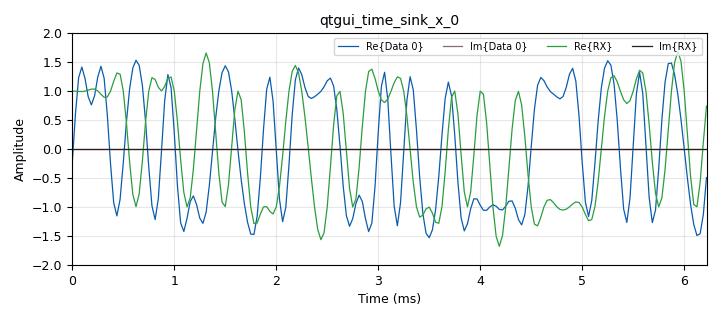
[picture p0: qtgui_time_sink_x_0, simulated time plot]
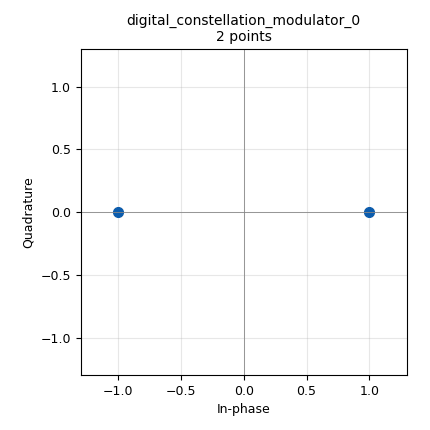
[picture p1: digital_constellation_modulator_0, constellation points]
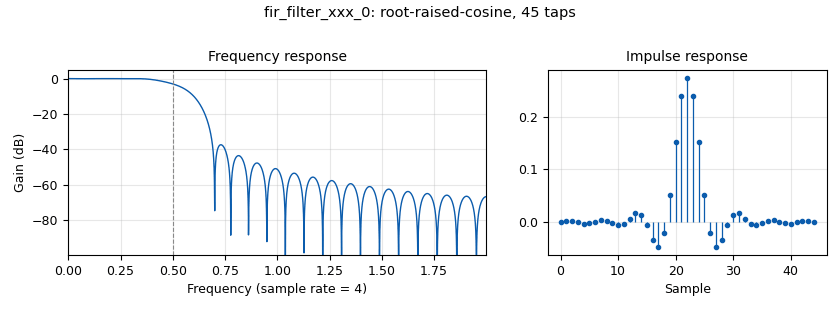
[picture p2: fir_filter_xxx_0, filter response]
options:
  parameters:
    category: Custom
    generate_options: qt_gui
    id: bpsk_stage1
    output_language: python
    title: bpsk_stage1
  states: {}

blocks:
- name: bpsk
  id: variable_constellation
  parameters:
    precision: '8'
    type: bpsk
  states: {}
- name: excess_bw
  id: variable
  parameters:
    value: '0.35'
  states: {}
- name: rrc_taps
  id: variable
  parameters:
    value: firdes.root_raised_cosine(1, sps, 1, excess_bw, 45)
  states: {}
- name: samp_rate
  id: variable
  parameters:
    value: '32000'
  states: {}
- name: sps
  id: variable
  parameters:
    value: '4'
  states: {}
- name: analog_random_source_x_0
  id: analog_random_source_x
  parameters:
    max: '256'
    min: '0'
    num_samps: '1024'
    repeat: 'True'
    type: byte
  states: {}
- name: blocks_throttle2_0
  id: blocks_throttle2
  parameters:
    samples_per_second: samp_rate
    type: complex
  states: {}
- name: digital_constellation_modulator_0
  id: digital_constellation_modulator
  parameters:
    constellation: bpsk
    differential: 'True'
    excess_bw: excess_bw
    samples_per_symbol: sps
  states: {}
- name: fir_filter_xxx_0
  id: fir_filter_xxx
  parameters:
    decim: '1'
    taps: rrc_taps
    type: ccc
  states: {}
- name: qtgui_const_sink_x_0
  id: qtgui_const_sink_x
  parameters:
    comment: 0,2,1,2
    gui_hint: 0,2,1,2
    nconnections: '2'
    size: '1024'
    type: complex
  states: {state: disabled}
- name: qtgui_freq_sink_x_0
  id: qtgui_freq_sink_x
  parameters:
    average: '0.05'
    bw: samp_rate
    comment: 1,0,1,4
    fc: '0'
    fftsize: '1024'
    gui_hint: 1,0,1,4
    nconnections: '2'
    type: complex
  states: {state: disabled}
- name: qtgui_time_sink_x_0
  id: qtgui_time_sink_x
  parameters:
    alpha1: '0.5'
    alpha2: '0.5'
    alpha3: '0.5'
    alpha4: '0.5'
    comment: 0,0,1,2
    ctrlpanel: 'True'
    gui_hint: 0,0,1,2
    label1: ''
    label2: ''
    label3: Re{RX}
    label4: Im{RX}
    name: ''
    nconnections: '2'
    size: '200'
    srate: samp_rate
    tr_mode: qtgui.TRIG_MODE_NORM
    type: complex
    ymax: '2'
    ymin: '-2'
  states: {}

connections:
- [analog_random_source_x_0, '0', digital_constellation_modulator_0, '0']
- [blocks_throttle2_0, '0', fir_filter_xxx_0, '0']
- [blocks_throttle2_0, '0', qtgui_const_sink_x_0, '0']
- [blocks_throttle2_0, '0', qtgui_freq_sink_x_0, '0']
- [blocks_throttle2_0, '0', qtgui_time_sink_x_0, '0']
- [digital_constellation_modulator_0, '0', blocks_throttle2_0, '0']
- [fir_filter_xxx_0, '0', qtgui_const_sink_x_0, '1']
- [fir_filter_xxx_0, '0', qtgui_freq_sink_x_0, '1']
- [fir_filter_xxx_0, '0', qtgui_time_sink_x_0, '1']

metadata:
  file_format: 1
  grc_version: 3.10.6.0
